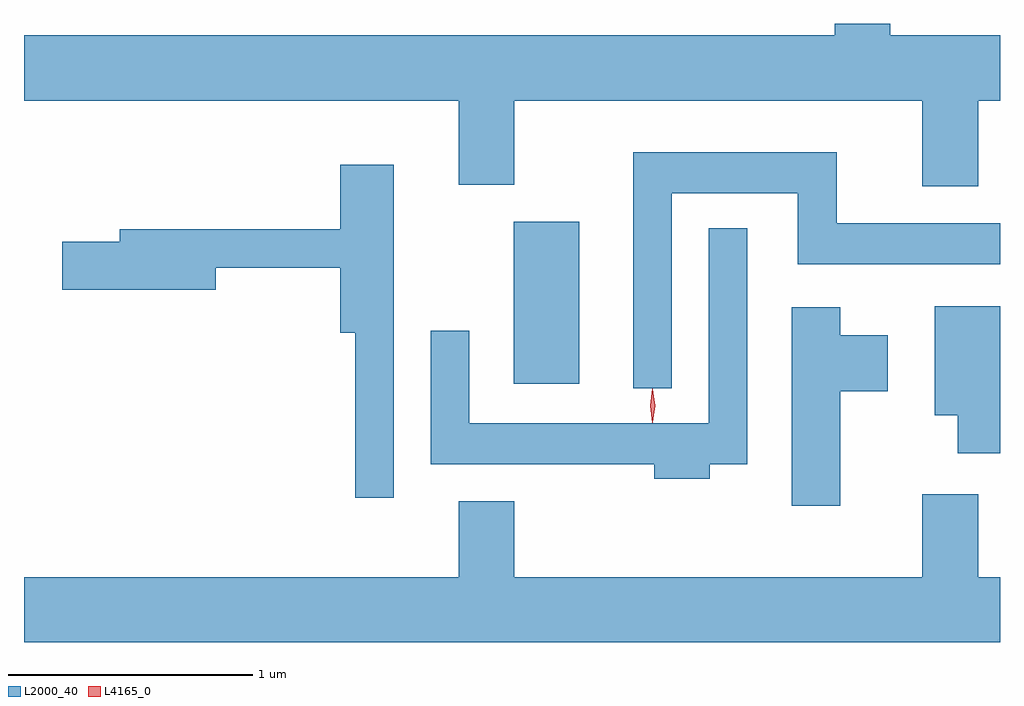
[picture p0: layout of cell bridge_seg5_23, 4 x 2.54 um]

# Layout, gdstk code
import gdstk
lib = gdstk.Library(unit=1e-6, precision=1e-09)
def R(c, l, rs):  # rectangles x0, y0, x1, y1
    for r in rs: c.add(gdstk.rectangle(r[:2], r[2:], *l))
def P(c, l, *ps):  # polygons
    for p in ps: c.add(gdstk.Polygon(p, *l))
L2000_40 = (2000, 40)
L4165_0 = (4165, 0)

bridge_seg5_23 = lib.new_cell('bridge_seg5_23')
R(bridge_seg5_23, L2000_40, [(1228.696,1473.396,1228.964,1474.059)])
P(bridge_seg5_23, L2000_40, [(1230.599,1474.556),(1230.689,1474.556),(1230.689,1474.824),(1230.239,1474.824),(1230.239,1474.872),(1230.011,1474.872),(1230.011,1474.824),(1226.689,1474.824),(1226.689,1474.556),(1228.471,1474.556),(1228.471,1474.211),(1228.699,1474.211),(1228.699,1474.556),(1230.371,1474.556),(1230.371,1474.206),(1230.599,1474.206)],
  [(1229.344,1474.176),(1229.861,1474.176),(1229.861,1473.886),(1230.689,1473.886),(1230.689,1474.054),(1230.019,1474.054),(1230.019,1474.344),(1229.186,1474.344),(1229.186,1473.378),(1229.344,1473.378)],
  [(1228.204,1474.294),(1227.986,1474.294),(1227.986,1474.029),(1227.081,1474.029),(1227.081,1473.979),(1226.846,1473.979),(1226.846,1473.781),(1227.474,1473.781),(1227.474,1473.871),(1227.986,1473.871),(1227.986,1473.606),(1228.046,1473.606),(1228.046,1472.928),(1228.204,1472.928)],
  [(1229.499,1473.066),(1229.654,1473.066),(1229.654,1474.033),(1229.496,1474.033),(1229.496,1473.234),(1228.514,1473.234),(1228.514,1473.613),(1228.356,1473.613),(1228.356,1473.066),(1229.271,1473.066),(1229.271,1473.006),(1229.499,1473.006)],
  [(1230.689,1473.714),(1230.421,1473.714),(1230.421,1473.266),(1230.516,1473.266),(1230.516,1473.111),(1230.689,1473.111)],
  [(1230.034,1473.366),(1230.229,1473.366),(1230.229,1473.594),(1230.034,1473.594),(1230.034,1473.709),(1229.836,1473.709),(1229.836,1472.896),(1230.034,1472.896)],
  [(1230.689,1472.604),(1230.599,1472.604),(1230.599,1472.944),(1230.371,1472.944),(1230.371,1472.604),(1228.699,1472.604),(1228.699,1472.914),(1228.471,1472.914),(1228.471,1472.604),(1226.689,1472.604),(1226.689,1472.336),(1230.689,1472.336)])
P(bridge_seg5_23, L4165_0, [(1229.264,1473.237),(1229.255,1473.306),(1229.264,1473.376),(1229.265,1473.376),(1229.265,1473.376),(1229.275,1473.306),(1229.265,1473.237),(1229.265,1473.237)],
  [(1229.265,1473.24),(1229.256,1473.306),(1229.265,1473.372),(1229.265,1473.373),(1229.266,1473.372),(1229.276,1473.306),(1229.266,1473.24),(1229.266,1473.24)])

lib.write_gds('bridge_seg5_23.gds')
